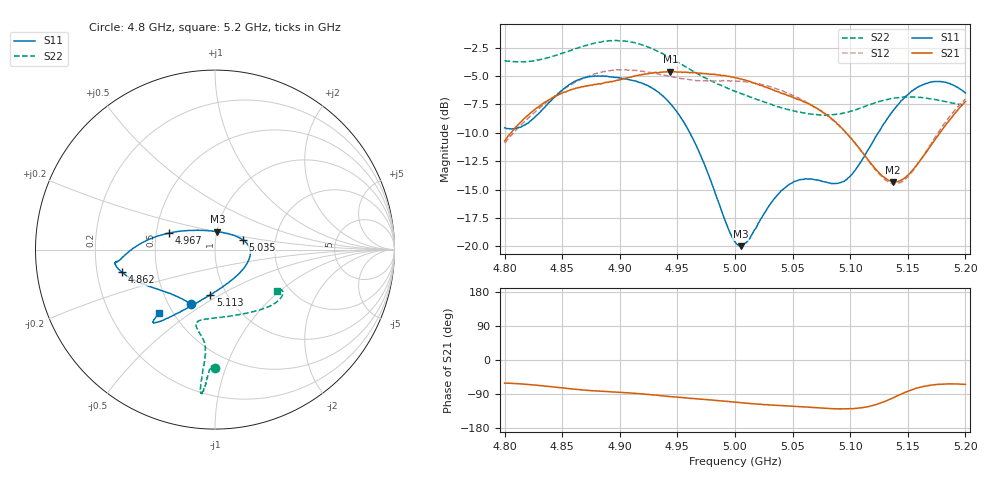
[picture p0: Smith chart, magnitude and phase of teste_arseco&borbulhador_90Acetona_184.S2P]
! Network Analyzer HP8722D
! Hewlett-Packard
! Data name: Linha & Wilkinson
! Saver's name: Rodrigo Anjos
! Comments: Teste da utilização de aquisição
! continua pelo VNA HP8722D
! Time and date: 17/4/2025 12:35
!  Frequency  S11  S21  S12  S22
# HZ  S  MA R 50
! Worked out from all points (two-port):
!   401 points, 4.8 GHz to 5.2 GHz, reference 50 ohm
!   highest |S21| = -4.62 dB at 4.944 GHz (marker M1); lowest = -14.3 dB at 5.137 GHz (marker M2)
!   |S21| within 3 dB of the highest: 4.831 GHz to 5.067 GHz (236.5 MHz wide, 4.78 % of centre); 5.196672 GHz to end of sweep
!   lowest |S11| = -20.0 dB at 5.005 GHz (marker M3), VSWR 1.22, Z = 50.4 + j10.1 ohm
!   |S11| at or under -10 dB: 4.961 GHz to 5.124 GHz (163.4 MHz wide, 3.24 % of centre)
!   |S22| runs from -8.5 to -1.9 dB; largest |S21 - S12| = 0.88
!   S11 on the Smith chart (normalised r, x): 4.8 GHz: 0.64, -0.44; 4.862 GHz: 0.31, -0.11; 4.967 GHz: 0.58, +0.12; 5.035 GHz: 1.36, +0.15; 5.113 GHz: 0.84, -0.45; 5.2 GHz: 0.42, -0.39
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4.8e9  0.3325 -113.9  0.2914 -61.1  0.2847 -175.3  0.657 -89.9
4.819e9  0.3468 -134.0  0.3731 -64.3  0.3607 -173.9  0.6515 -91.5
4.862e9  0.5349 -166.5  0.4973 -77.4  0.5306 -177.1  0.7439 -93.8
4.867e9  0.5479 -168.5  0.505 -78.8  0.5453 -178.0  0.7572 -94.1
4.899e9  0.5521 -173.1  0.5392 -85.4  0.5985 175.4  0.8041 -95.4
4.934e9  0.4758 -179.1  0.5818 -93.6  0.5738 171.8  0.7166 -95.9
4.944e9  0.4245 176.2  0.5878 -96.5  0.5587 171.8  0.6756 -95.8
4.967e9  0.2735 160.3  0.5795 -102.3  0.5358 173.8  0.5769 -95.3
5e9  0.1051 99.2  0.5524 -111.2  0.5343 176.1  0.481 -99.4
5.005e9  0.1003 82.2  0.545 -112.8  0.5314 176.1  0.4703 -100.7
5.012e9  0.1073 60.2  0.5328 -114.5  0.5279 175.8  0.4572 -102.1
5.035e9  0.1642 19.6  0.4833 -119.6  0.4968 174.6  0.4163 -103.6
5.05e9  0.1908 4.6  0.4537 -121.9  0.4612 173.8  0.3966 -99.9
5.067e9  0.198 -13.8  0.4171 -125.1  0.4179 173.5  0.3821 -91.0
5.093e9  0.1923 -58.1  0.3307 -128.9  0.329 174.0  0.3847 -70.7
5.113e9  0.2532 -95.7  0.2502 -124.5  0.2489 179.9  0.4138 -55.1
5.134e9  0.3761 -117.2  0.1949 -104.3  0.191 -157.1  0.4459 -43.2
5.137e9  0.3938 -118.9  0.1922 -100.2  0.1892 -152.4  0.4482 -41.8
5.15e9  0.4658 -124.8  0.2055 -82.7  0.2022 -132.2  0.4548 -36.8
5.17e9  0.5281 -129.5  0.2778 -66.3  0.2823 -112.6  0.446 -32.2
5.184e9  0.5249 -130.8  0.349 -63.2  0.3599 -107.4  0.433 -31.2
5.2e9  0.4734 -131.2  0.4335 -64.5  0.4451 -106.6  0.4164 -33.6
